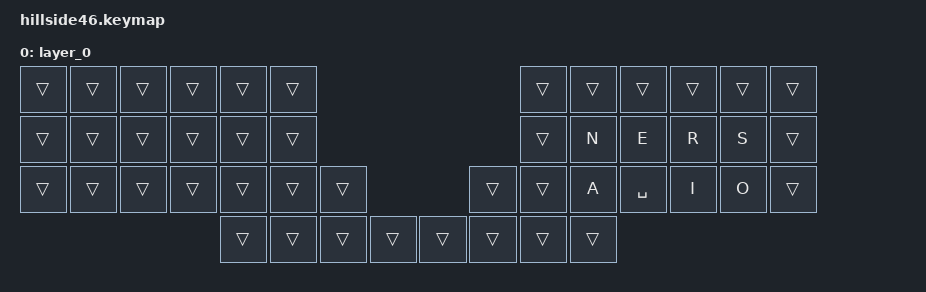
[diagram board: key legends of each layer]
#include <behaviors.dtsi>
#include <dt-bindings/zmk/keys.h>

/ {
    keymap {
        compatible = "zmk,keymap";

        layer_0 {
            bindings = <
&trans  &trans  &trans  &trans  &trans  &trans                                    &trans  &trans  &trans     &trans  &trans  &trans
&trans  &trans  &trans  &trans  &trans  &trans                                    &trans  &kp N   &kp E      &kp R   &kp S   &trans
&trans  &trans  &trans  &trans  &trans  &trans  &trans                    &trans  &trans  &kp A   &kp SPACE  &kp I   &kp O   &trans
                                &trans  &trans  &trans  &trans    &trans  &trans  &trans  &trans
            >;
        };
    };
};
